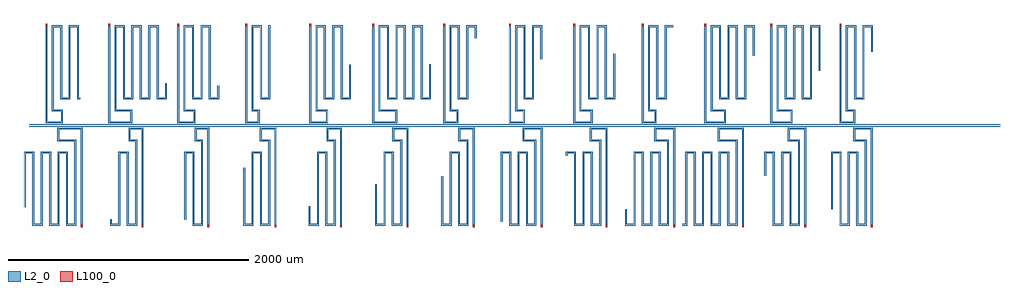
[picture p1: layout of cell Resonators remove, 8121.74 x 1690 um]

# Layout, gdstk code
import gdstk
lib = gdstk.Library(unit=1e-6, precision=1e-09)
def R(c, l, rs):  # rectangles x0, y0, x1, y1
    for r in rs: c.add(gdstk.rectangle(r[:2], r[2:], *l))
def P(c, l, *ps):  # polygons
    for p in ps: c.add(gdstk.Polygon(p, *l))
L2_0 = (2, 0)
L100_0 = (100, 0)

resonators_remove = lib.new_cell('Resonators remove')
R(resonators_remove, L2_0, [(810,2338.5,8890,2344.5), (810,2355.5,8890,2361.5)])
P(resonators_remove, L2_0, [(768.263,1670),(772.263,1670),(772.263,2128.5),(849.263,2128.5),(849.263,1528.5),(912.263,1528.5),(912.263,2128.5),(989.263,2128.5),(989.263,1528.5),(1052.263,1528.5),(1052.263,2128.5),(1129.263,2128.5),(1129.263,1528.5),(1192.263,1528.5),(1192.263,2221.5),(1048.737,2221.5),(1048.737,2328.5),(1251.263,2328.5),(1251.263,1525),(1255.263,1525),(1255.263,2332.5),(1044.737,2332.5),(1044.737,2217.5),(1188.263,2217.5),(1188.263,1532.5),(1133.263,1532.5),(1133.263,2132.5),(1048.263,2132.5),(1048.263,1532.5),(993.263,1532.5),(993.263,2132.5),(908.263,2132.5),(908.263,1532.5),(853.263,1532.5),(853.263,2132.5),(768.263,2132.5)],
  [(779.263,1670),(783.263,1670),(783.263,2117.5),(838.263,2117.5),(838.263,1517.5),(923.263,1517.5),(923.263,2117.5),(978.263,2117.5),(978.263,1517.5),(1063.263,1517.5),(1063.263,2117.5),(1118.263,2117.5),(1118.263,1517.5),(1203.263,1517.5),(1203.263,2232.5),(1059.737,2232.5),(1059.737,2317.5),(1240.263,2317.5),(1240.263,1525),(1244.263,1525),(1244.263,2321.5),(1055.737,2321.5),(1055.737,2228.5),(1199.263,2228.5),(1199.263,1521.5),(1122.263,1521.5),(1122.263,2121.5),(1059.263,2121.5),(1059.263,1521.5),(982.263,1521.5),(982.263,2121.5),(919.263,2121.5),(919.263,1521.5),(842.263,1521.5),(842.263,2121.5),(779.263,2121.5)],
  [(1151.018,3171.5),(1151.018,2571.5),(1074.018,2571.5),(1074.018,3171.5),(1011.018,3171.5),(1011.018,2478.5),(1087.982,2478.5),(1087.982,2371.5),(952.018,2371.5),(952.018,3175),(948.018,3175),(948.018,2367.5),(1091.982,2367.5),(1091.982,2482.5),(1015.018,2482.5),(1015.018,3167.5),(1070.018,3167.5),(1070.018,2567.5),(1155.018,2567.5),(1155.018,3167.5),(1210.018,3167.5),(1210.018,2567.5),(1235.518,2567.5),(1235.518,2571.5),(1214.018,2571.5),(1214.018,3171.5)],
  [(1140.018,3182.5),(1140.018,2582.5),(1085.018,2582.5),(1085.018,3182.5),(1000.018,3182.5),(1000.018,2467.5),(1076.982,2467.5),(1076.982,2382.5),(963.018,2382.5),(963.018,3175),(959.018,3175),(959.018,2378.5),(1080.982,2378.5),(1080.982,2471.5),(1004.018,2471.5),(1004.018,3178.5),(1081.018,3178.5),(1081.018,2578.5),(1144.018,2578.5),(1144.018,3178.5),(1221.018,3178.5),(1221.018,2578.5),(1235.518,2578.5),(1235.518,2582.5),(1225.018,2582.5),(1225.018,3182.5)],
  [(1499.619,1569),(1495.619,1569),(1495.619,1528.5),(1558.619,1528.5),(1558.619,2128.5),(1635.619,2128.5),(1635.619,1528.5),(1698.619,1528.5),(1698.619,2221.5),(1642.381,2221.5),(1642.381,2328.5),(1757.619,2328.5),(1757.619,1525),(1761.619,1525),(1761.619,2332.5),(1638.381,2332.5),(1638.381,2217.5),(1694.619,2217.5),(1694.619,1532.5),(1639.619,1532.5),(1639.619,2132.5),(1554.619,2132.5),(1554.619,1532.5),(1499.619,1532.5)],
  [(1488.619,1569),(1484.619,1569),(1484.619,1517.5),(1569.619,1517.5),(1569.619,2117.5),(1624.619,2117.5),(1624.619,1517.5),(1709.619,1517.5),(1709.619,2232.5),(1653.381,2232.5),(1653.381,2317.5),(1746.619,2317.5),(1746.619,1525),(1750.619,1525),(1750.619,2321.5),(1649.381,2321.5),(1649.381,2228.5),(1705.619,2228.5),(1705.619,1521.5),(1628.619,1521.5),(1628.619,2121.5),(1565.619,2121.5),(1565.619,1521.5),(1488.619,1521.5)],
  [(1957.662,2701),(1953.662,2701),(1953.662,2571.5),(1876.662,2571.5),(1876.662,3171.5),(1813.662,3171.5),(1813.662,2571.5),(1736.662,2571.5),(1736.662,3171.5),(1673.662,3171.5),(1673.662,2571.5),(1596.662,2571.5),(1596.662,3171.5),(1533.662,3171.5),(1533.662,2478.5),(1665.338,2478.5),(1665.338,2371.5),(1474.662,2371.5),(1474.662,3175),(1470.662,3175),(1470.662,2367.5),(1669.338,2367.5),(1669.338,2482.5),(1537.662,2482.5),(1537.662,3167.5),(1592.662,3167.5),(1592.662,2567.5),(1677.662,2567.5),(1677.662,3167.5),(1732.662,3167.5),(1732.662,2567.5),(1817.662,2567.5),(1817.662,3167.5),(1872.662,3167.5),(1872.662,2567.5),(1957.662,2567.5)],
  [(1946.662,2701),(1942.662,2701),(1942.662,2582.5),(1887.662,2582.5),(1887.662,3182.5),(1802.662,3182.5),(1802.662,2582.5),(1747.662,2582.5),(1747.662,3182.5),(1662.662,3182.5),(1662.662,2582.5),(1607.662,2582.5),(1607.662,3182.5),(1522.662,3182.5),(1522.662,2467.5),(1654.338,2467.5),(1654.338,2382.5),(1485.662,2382.5),(1485.662,3175),(1481.662,3175),(1481.662,2378.5),(1658.338,2378.5),(1658.338,2471.5),(1526.662,2471.5),(1526.662,3178.5),(1603.662,3178.5),(1603.662,2578.5),(1666.662,2578.5),(1666.662,3178.5),(1743.662,3178.5),(1743.662,2578.5),(1806.662,2578.5),(1806.662,3178.5),(1883.662,3178.5),(1883.662,2578.5),(1946.662,2578.5)],
  [(2101.867,1564),(2105.867,1564),(2105.867,2128.5),(2182.867,2128.5),(2182.867,1528.5),(2245.867,1528.5),(2245.867,2221.5),(2195.133,2221.5),(2195.133,2328.5),(2304.867,2328.5),(2304.867,1525),(2308.867,1525),(2308.867,2332.5),(2191.133,2332.5),(2191.133,2217.5),(2241.867,2217.5),(2241.867,1532.5),(2186.867,1532.5),(2186.867,2132.5),(2101.867,2132.5)],
  [(2112.867,1564),(2116.867,1564),(2116.867,2117.5),(2171.867,2117.5),(2171.867,1517.5),(2256.867,1517.5),(2256.867,2232.5),(2206.133,2232.5),(2206.133,2317.5),(2293.867,2317.5),(2293.867,1525),(2297.867,1525),(2297.867,2321.5),(2202.133,2321.5),(2202.133,2228.5),(2252.867,2228.5),(2252.867,1521.5),(2175.867,1521.5),(2175.867,2121.5),(2112.867,2121.5)],
  [(2392.152,2682),(2388.152,2682),(2388.152,2571.5),(2311.152,2571.5),(2311.152,3171.5),(2248.152,3171.5),(2248.152,2571.5),(2171.152,2571.5),(2171.152,3171.5),(2108.152,3171.5),(2108.152,2478.5),(2190.848,2478.5),(2190.848,2371.5),(2049.152,2371.5),(2049.152,3175),(2045.152,3175),(2045.152,2367.5),(2194.848,2367.5),(2194.848,2482.5),(2112.152,2482.5),(2112.152,3167.5),(2167.152,3167.5),(2167.152,2567.5),(2252.152,2567.5),(2252.152,3167.5),(2307.152,3167.5),(2307.152,2567.5),(2392.152,2567.5)],
  [(2381.152,2682),(2377.152,2682),(2377.152,2582.5),(2322.152,2582.5),(2322.152,3182.5),(2237.152,3182.5),(2237.152,2582.5),(2182.152,2582.5),(2182.152,3182.5),(2097.152,3182.5),(2097.152,2467.5),(2179.848,2467.5),(2179.848,2382.5),(2060.152,2382.5),(2060.152,3175),(2056.152,3175),(2056.152,2378.5),(2183.848,2378.5),(2183.848,2471.5),(2101.152,2471.5),(2101.152,3178.5),(2178.152,3178.5),(2178.152,2578.5),(2241.152,2578.5),(2241.152,3178.5),(2318.152,3178.5),(2318.152,2578.5),(2381.152,2578.5)],
  [(2607.35,1997),(2603.35,1997),(2603.35,1528.5),(2666.35,1528.5),(2666.35,2128.5),(2743.35,2128.5),(2743.35,1528.5),(2806.35,1528.5),(2806.35,2221.5),(2734.65,2221.5),(2734.65,2328.5),(2865.35,2328.5),(2865.35,1525),(2869.35,1525),(2869.35,2332.5),(2730.65,2332.5),(2730.65,2217.5),(2802.35,2217.5),(2802.35,1532.5),(2747.35,1532.5),(2747.35,2132.5),(2662.35,2132.5),(2662.35,1532.5),(2607.35,1532.5)],
  [(2596.35,1997),(2592.35,1997),(2592.35,1517.5),(2677.35,1517.5),(2677.35,2117.5),(2732.35,2117.5),(2732.35,1517.5),(2817.35,1517.5),(2817.35,2232.5),(2745.65,2232.5),(2745.65,2317.5),(2854.35,2317.5),(2854.35,1525),(2858.35,1525),(2858.35,2321.5),(2741.65,2321.5),(2741.65,2228.5),(2813.35,2228.5),(2813.35,1521.5),(2736.35,1521.5),(2736.35,2121.5),(2673.35,2121.5),(2673.35,1521.5),(2596.35,1521.5)],
  [(2819.747,3167.5),(2819.747,3171.5),(2813.247,3171.5),(2813.247,2571.5),(2736.247,2571.5),(2736.247,3171.5),(2673.247,3171.5),(2673.247,2478.5),(2725.753,2478.5),(2725.753,2371.5),(2614.247,2371.5),(2614.247,3175),(2610.247,3175),(2610.247,2367.5),(2729.753,2367.5),(2729.753,2482.5),(2677.247,2482.5),(2677.247,3167.5),(2732.247,3167.5),(2732.247,2567.5),(2817.247,2567.5),(2817.247,3167.5)],
  [(2819.747,3178.5),(2819.747,3182.5),(2802.247,3182.5),(2802.247,2582.5),(2747.247,2582.5),(2747.247,3182.5),(2662.247,3182.5),(2662.247,2467.5),(2714.753,2467.5),(2714.753,2382.5),(2625.247,2382.5),(2625.247,3175),(2621.247,3175),(2621.247,2378.5),(2718.753,2378.5),(2718.753,2471.5),(2666.247,2471.5),(2666.247,3178.5),(2743.247,3178.5),(2743.247,2578.5),(2806.247,2578.5),(2806.247,3178.5)],
  [(3151.623,1680),(3147.623,1680),(3147.623,1528.5),(3210.623,1528.5),(3210.623,2128.5),(3287.623,2128.5),(3287.623,1528.5),(3350.623,1528.5),(3350.623,2221.5),(3290.377,2221.5),(3290.377,2328.5),(3409.623,2328.5),(3409.623,1525),(3413.623,1525),(3413.623,2332.5),(3286.377,2332.5),(3286.377,2217.5),(3346.623,2217.5),(3346.623,1532.5),(3291.623,1532.5),(3291.623,2132.5),(3206.623,2132.5),(3206.623,1532.5),(3151.623,1532.5)],
  [(3140.623,1680),(3136.623,1680),(3136.623,1517.5),(3221.623,1517.5),(3221.623,2117.5),(3276.623,2117.5),(3276.623,1517.5),(3361.623,1517.5),(3361.623,2232.5),(3301.377,2232.5),(3301.377,2317.5),(3398.623,2317.5),(3398.623,1525),(3402.623,1525),(3402.623,2321.5),(3297.377,2321.5),(3297.377,2228.5),(3357.623,2228.5),(3357.623,1521.5),(3280.623,1521.5),(3280.623,2121.5),(3217.623,2121.5),(3217.623,1521.5),(3140.623,1521.5)],
  [(3489.02,2856),(3485.02,2856),(3485.02,2571.5),(3408.02,2571.5),(3408.02,3171.5),(3345.02,3171.5),(3345.02,2571.5),(3268.02,2571.5),(3268.02,3171.5),(3205.02,3171.5),(3205.02,2478.5),(3293.98,2478.5),(3293.98,2371.5),(3146.02,2371.5),(3146.02,3175),(3142.02,3175),(3142.02,2367.5),(3297.98,2367.5),(3297.98,2482.5),(3209.02,2482.5),(3209.02,3167.5),(3264.02,3167.5),(3264.02,2567.5),(3349.02,2567.5),(3349.02,3167.5),(3404.02,3167.5),(3404.02,2567.5),(3489.02,2567.5)],
  [(3478.02,2856),(3474.02,2856),(3474.02,2582.5),(3419.02,2582.5),(3419.02,3182.5),(3334.02,3182.5),(3334.02,2582.5),(3279.02,2582.5),(3279.02,3182.5),(3194.02,3182.5),(3194.02,2467.5),(3282.98,2467.5),(3282.98,2382.5),(3157.02,2382.5),(3157.02,3175),(3153.02,3175),(3153.02,2378.5),(3286.98,2378.5),(3286.98,2471.5),(3198.02,2471.5),(3198.02,3178.5),(3275.02,3178.5),(3275.02,2578.5),(3338.02,2578.5),(3338.02,3178.5),(3415.02,3178.5),(3415.02,2578.5),(3478.02,2578.5)],
  [(3704.924,1863),(3700.924,1863),(3700.924,1528.5),(3763.924,1528.5),(3763.924,2128.5),(3840.924,2128.5),(3840.924,1528.5),(3903.924,1528.5),(3903.924,2221.5),(3837.076,2221.5),(3837.076,2328.5),(3962.924,2328.5),(3962.924,1525),(3966.924,1525),(3966.924,2332.5),(3833.076,2332.5),(3833.076,2217.5),(3899.924,2217.5),(3899.924,1532.5),(3844.924,1532.5),(3844.924,2132.5),(3759.924,2132.5),(3759.924,1532.5),(3704.924,1532.5)],
  [(3693.924,1863),(3689.924,1863),(3689.924,1517.5),(3774.924,1517.5),(3774.924,2117.5),(3829.924,2117.5),(3829.924,1517.5),(3914.924,1517.5),(3914.924,2232.5),(3848.076,2232.5),(3848.076,2317.5),(3951.924,2317.5),(3951.924,1525),(3955.924,1525),(3955.924,2321.5),(3844.076,2321.5),(3844.076,2228.5),(3910.924,2228.5),(3910.924,1521.5),(3833.924,1521.5),(3833.924,2121.5),(3770.924,2121.5),(3770.924,1521.5),(3693.924,1521.5)],
  [(4154.792,2860),(4150.792,2860),(4150.792,2571.5),(4073.792,2571.5),(4073.792,3171.5),(4010.792,3171.5),(4010.792,2571.5),(3933.792,2571.5),(3933.792,3171.5),(3870.792,3171.5),(3870.792,2571.5),(3793.792,2571.5),(3793.792,3171.5),(3730.792,3171.5),(3730.792,2478.5),(3868.208,2478.5),(3868.208,2371.5),(3671.792,2371.5),(3671.792,3175),(3667.792,3175),(3667.792,2367.5),(3872.208,2367.5),(3872.208,2482.5),(3734.792,2482.5),(3734.792,3167.5),(3789.792,3167.5),(3789.792,2567.5),(3874.792,2567.5),(3874.792,3167.5),(3929.792,3167.5),(3929.792,2567.5),(4014.792,2567.5),(4014.792,3167.5),(4069.792,3167.5),(4069.792,2567.5),(4154.792,2567.5)],
  [(4143.792,2860),(4139.792,2860),(4139.792,2582.5),(4084.792,2582.5),(4084.792,3182.5),(3999.792,3182.5),(3999.792,2582.5),(3944.792,2582.5),(3944.792,3182.5),(3859.792,3182.5),(3859.792,2582.5),(3804.792,2582.5),(3804.792,3182.5),(3719.792,3182.5),(3719.792,2467.5),(3857.208,2467.5),(3857.208,2382.5),(3682.792,2382.5),(3682.792,3175),(3678.792,3175),(3678.792,2378.5),(3861.208,2378.5),(3861.208,2471.5),(3723.792,2471.5),(3723.792,3178.5),(3800.792,3178.5),(3800.792,2578.5),(3863.792,2578.5),(3863.792,3178.5),(3940.792,3178.5),(3940.792,2578.5),(4003.792,2578.5),(4003.792,3178.5),(4080.792,3178.5),(4080.792,2578.5),(4143.792,2578.5)],
  [(4256.113,1929),(4252.113,1929),(4252.113,1528.5),(4315.113,1528.5),(4315.113,2128.5),(4392.113,2128.5),(4392.113,1528.5),(4455.113,1528.5),(4455.113,2221.5),(4385.887,2221.5),(4385.887,2328.5),(4514.113,2328.5),(4514.113,1525),(4518.113,1525),(4518.113,2332.5),(4381.887,2332.5),(4381.887,2217.5),(4451.113,2217.5),(4451.113,1532.5),(4396.113,1532.5),(4396.113,2132.5),(4311.113,2132.5),(4311.113,1532.5),(4256.113,1532.5)],
  [(4245.113,1929),(4241.113,1929),(4241.113,1517.5),(4326.113,1517.5),(4326.113,2117.5),(4381.113,2117.5),(4381.113,1517.5),(4466.113,1517.5),(4466.113,2232.5),(4396.887,2232.5),(4396.887,2317.5),(4503.113,2317.5),(4503.113,1525),(4507.113,1525),(4507.113,2321.5),(4392.887,2321.5),(4392.887,2228.5),(4462.113,2228.5),(4462.113,1521.5),(4385.113,1521.5),(4385.113,2121.5),(4322.113,2121.5),(4322.113,1521.5),(4245.113,1521.5)],
  [(4519.397,3077),(4523.397,3077),(4523.397,3171.5),(4460.397,3171.5),(4460.397,2571.5),(4383.397,2571.5),(4383.397,3171.5),(4320.397,3171.5),(4320.397,2478.5),(4378.603,2478.5),(4378.603,2371.5),(4261.397,2371.5),(4261.397,3175),(4257.397,3175),(4257.397,2367.5),(4382.603,2367.5),(4382.603,2482.5),(4324.397,2482.5),(4324.397,3167.5),(4379.397,3167.5),(4379.397,2567.5),(4464.397,2567.5),(4464.397,3167.5),(4519.397,3167.5)],
  [(4530.397,3077),(4534.397,3077),(4534.397,3182.5),(4449.397,3182.5),(4449.397,2582.5),(4394.397,2582.5),(4394.397,3182.5),(4309.397,3182.5),(4309.397,2467.5),(4367.603,2467.5),(4367.603,2382.5),(4272.397,2382.5),(4272.397,3175),(4268.397,3175),(4268.397,2378.5),(4371.603,2378.5),(4371.603,2471.5),(4313.397,2471.5),(4313.397,3178.5),(4390.397,3178.5),(4390.397,2578.5),(4453.397,2578.5),(4453.397,3178.5),(4530.397,3178.5)],
  [(4736.266,1551),(4740.266,1551),(4740.266,2128.5),(4817.266,2128.5),(4817.266,1528.5),(4880.266,1528.5),(4880.266,2128.5),(4957.266,2128.5),(4957.266,1528.5),(5020.266,1528.5),(5020.266,2221.5),(4920.734,2221.5),(4920.734,2328.5),(5079.266,2328.5),(5079.266,1525),(5083.266,1525),(5083.266,2332.5),(4916.734,2332.5),(4916.734,2217.5),(5016.266,2217.5),(5016.266,1532.5),(4961.266,1532.5),(4961.266,2132.5),(4876.266,2132.5),(4876.266,1532.5),(4821.266,1532.5),(4821.266,2132.5),(4736.266,2132.5)],
  [(4747.266,1551),(4751.266,1551),(4751.266,2117.5),(4806.266,2117.5),(4806.266,1517.5),(4891.266,1517.5),(4891.266,2117.5),(4946.266,2117.5),(4946.266,1517.5),(5031.266,1517.5),(5031.266,2232.5),(4931.734,2232.5),(4931.734,2317.5),(5068.266,2317.5),(5068.266,1525),(5072.266,1525),(5072.266,2321.5),(4927.734,2321.5),(4927.734,2228.5),(5027.266,2228.5),(5027.266,1521.5),(4950.266,1521.5),(4950.266,2121.5),(4887.266,2121.5),(4887.266,1521.5),(4810.266,1521.5),(4810.266,2121.5),(4747.266,2121.5)],
  [(5066.218,2901),(5070.218,2901),(5070.218,3171.5),(5007.218,3171.5),(5007.218,2571.5),(4930.218,2571.5),(4930.218,3171.5),(4867.218,3171.5),(4867.218,2478.5),(4931.782,2478.5),(4931.782,2371.5),(4808.218,2371.5),(4808.218,3175),(4804.218,3175),(4804.218,2367.5),(4935.782,2367.5),(4935.782,2482.5),(4871.218,2482.5),(4871.218,3167.5),(4926.218,3167.5),(4926.218,2567.5),(5011.218,2567.5),(5011.218,3167.5),(5066.218,3167.5)],
  [(5077.218,2901),(5081.218,2901),(5081.218,3182.5),(4996.218,3182.5),(4996.218,2582.5),(4941.218,2582.5),(4941.218,3182.5),(4856.218,3182.5),(4856.218,2467.5),(4920.782,2467.5),(4920.782,2382.5),(4819.218,2382.5),(4819.218,3175),(4815.218,3175),(4815.218,2378.5),(4924.782,2378.5),(4924.782,2471.5),(4860.218,2471.5),(4860.218,3178.5),(4937.218,3178.5),(4937.218,2578.5),(5000.218,2578.5),(5000.218,3178.5),(5077.218,3178.5)],
  [(5276.384,2099),(5280.384,2099),(5280.384,2128.5),(5357.384,2128.5),(5357.384,1528.5),(5420.384,1528.5),(5420.384,2128.5),(5497.384,2128.5),(5497.384,1528.5),(5560.384,1528.5),(5560.384,2221.5),(5480.616,2221.5),(5480.616,2328.5),(5619.384,2328.5),(5619.384,1525),(5623.384,1525),(5623.384,2332.5),(5476.616,2332.5),(5476.616,2217.5),(5556.384,2217.5),(5556.384,1532.5),(5501.384,1532.5),(5501.384,2132.5),(5416.384,2132.5),(5416.384,1532.5),(5361.384,1532.5),(5361.384,2132.5),(5276.384,2132.5)],
  [(5287.384,2099),(5291.384,2099),(5291.384,2117.5),(5346.384,2117.5),(5346.384,1517.5),(5431.384,1517.5),(5431.384,2117.5),(5486.384,2117.5),(5486.384,1517.5),(5571.384,1517.5),(5571.384,2232.5),(5491.616,2232.5),(5491.616,2317.5),(5608.384,2317.5),(5608.384,1525),(5612.384,1525),(5612.384,2321.5),(5487.616,2321.5),(5487.616,2228.5),(5567.384,2228.5),(5567.384,1521.5),(5490.384,1521.5),(5490.384,2121.5),(5427.384,2121.5),(5427.384,1521.5),(5350.384,1521.5),(5350.384,2121.5),(5287.384,2121.5)],
  [(5687.342,2949),(5683.342,2949),(5683.342,2571.5),(5606.342,2571.5),(5606.342,3171.5),(5543.342,3171.5),(5543.342,2571.5),(5466.342,2571.5),(5466.342,3171.5),(5403.342,3171.5),(5403.342,2478.5),(5495.658,2478.5),(5495.658,2371.5),(5344.342,2371.5),(5344.342,3175),(5340.342,3175),(5340.342,2367.5),(5499.658,2367.5),(5499.658,2482.5),(5407.342,2482.5),(5407.342,3167.5),(5462.342,3167.5),(5462.342,2567.5),(5547.342,2567.5),(5547.342,3167.5),(5602.342,3167.5),(5602.342,2567.5),(5687.342,2567.5)],
  [(5676.342,2949),(5672.342,2949),(5672.342,2582.5),(5617.342,2582.5),(5617.342,3182.5),(5532.342,3182.5),(5532.342,2582.5),(5477.342,2582.5),(5477.342,3182.5),(5392.342,3182.5),(5392.342,2467.5),(5484.658,2467.5),(5484.658,2382.5),(5355.342,2382.5),(5355.342,3175),(5351.342,3175),(5351.342,2378.5),(5488.658,2378.5),(5488.658,2471.5),(5396.342,2471.5),(5396.342,3178.5),(5473.342,3178.5),(5473.342,2578.5),(5536.342,2578.5),(5536.342,3178.5),(5613.342,3178.5),(5613.342,2578.5),(5676.342,2578.5)],
  [(5785.254,1651),(5781.254,1651),(5781.254,1528.5),(5844.254,1528.5),(5844.254,2128.5),(5921.254,2128.5),(5921.254,1528.5),(5984.254,1528.5),(5984.254,2128.5),(6061.254,2128.5),(6061.254,1528.5),(6124.254,1528.5),(6124.254,2221.5),(6016.746,2221.5),(6016.746,2328.5),(6183.254,2328.5),(6183.254,1525),(6187.254,1525),(6187.254,2332.5),(6012.746,2332.5),(6012.746,2217.5),(6120.254,2217.5),(6120.254,1532.5),(6065.254,1532.5),(6065.254,2132.5),(5980.254,2132.5),(5980.254,1532.5),(5925.254,1532.5),(5925.254,2132.5),(5840.254,2132.5),(5840.254,1532.5),(5785.254,1532.5)],
  [(5774.254,1651),(5770.254,1651),(5770.254,1517.5),(5855.254,1517.5),(5855.254,2117.5),(5910.254,2117.5),(5910.254,1517.5),(5995.254,1517.5),(5995.254,2117.5),(6050.254,2117.5),(6050.254,1517.5),(6135.254,1517.5),(6135.254,2232.5),(6027.746,2232.5),(6027.746,2317.5),(6172.254,2317.5),(6172.254,1525),(6176.254,1525),(6176.254,2321.5),(6023.746,2321.5),(6023.746,2228.5),(6131.254,2228.5),(6131.254,1521.5),(6054.254,1521.5),(6054.254,2121.5),(5991.254,2121.5),(5991.254,1521.5),(5914.254,1521.5),(5914.254,2121.5),(5851.254,2121.5),(5851.254,1521.5),(5774.254,1521.5)],
  [(6169.831,3167.5),(6169.831,3171.5),(6112.331,3171.5),(6112.331,2571.5),(6035.331,2571.5),(6035.331,3171.5),(5972.331,3171.5),(5972.331,2478.5),(6026.669,2478.5),(6026.669,2371.5),(5913.331,2371.5),(5913.331,3175),(5909.331,3175),(5909.331,2367.5),(6030.669,2367.5),(6030.669,2482.5),(5976.331,2482.5),(5976.331,3167.5),(6031.331,3167.5),(6031.331,2567.5),(6116.331,2567.5),(6116.331,3167.5)],
  [(6169.831,3178.5),(6169.831,3182.5),(6101.331,3182.5),(6101.331,2582.5),(6046.331,2582.5),(6046.331,3182.5),(5961.331,3182.5),(5961.331,2467.5),(6015.669,2467.5),(6015.669,2382.5),(5924.331,2382.5),(5924.331,3175),(5920.331,3175),(5920.331,2378.5),(6019.669,2378.5),(6019.669,2471.5),(5965.331,2471.5),(5965.331,3178.5),(6042.331,3178.5),(6042.331,2578.5),(6105.331,2578.5),(6105.331,3178.5)],
  [(6244.022,1532.5),(6244.022,1528.5),(6275.522,1528.5),(6275.522,2128.5),(6352.522,2128.5),(6352.522,1528.5),(6415.522,1528.5),(6415.522,2128.5),(6492.522,2128.5),(6492.522,1528.5),(6555.522,1528.5),(6555.522,2128.5),(6632.522,2128.5),(6632.522,1528.5),(6695.522,1528.5),(6695.522,2221.5),(6545.478,2221.5),(6545.478,2328.5),(6754.522,2328.5),(6754.522,1525),(6758.522,1525),(6758.522,2332.5),(6541.478,2332.5),(6541.478,2217.5),(6691.522,2217.5),(6691.522,1532.5),(6636.522,1532.5),(6636.522,2132.5),(6551.522,2132.5),(6551.522,1532.5),(6496.522,1532.5),(6496.522,2132.5),(6411.522,2132.5),(6411.522,1532.5),(6356.522,1532.5),(6356.522,2132.5),(6271.522,2132.5),(6271.522,1532.5)],
  [(6244.022,1521.5),(6244.022,1517.5),(6286.522,1517.5),(6286.522,2117.5),(6341.522,2117.5),(6341.522,1517.5),(6426.522,1517.5),(6426.522,2117.5),(6481.522,2117.5),(6481.522,1517.5),(6566.522,1517.5),(6566.522,2117.5),(6621.522,2117.5),(6621.522,1517.5),(6706.522,1517.5),(6706.522,2232.5),(6556.478,2232.5),(6556.478,2317.5),(6743.522,2317.5),(6743.522,1525),(6747.522,1525),(6747.522,2321.5),(6552.478,2321.5),(6552.478,2228.5),(6702.522,2228.5),(6702.522,1521.5),(6625.522,1521.5),(6625.522,2121.5),(6562.522,2121.5),(6562.522,1521.5),(6485.522,1521.5),(6485.522,2121.5),(6422.522,2121.5),(6422.522,1521.5),(6345.522,1521.5),(6345.522,2121.5),(6282.522,2121.5),(6282.522,1521.5)],
  [(6832.591,2930),(6836.591,2930),(6836.591,3171.5),(6773.591,3171.5),(6773.591,2571.5),(6696.591,2571.5),(6696.591,3171.5),(6633.591,3171.5),(6633.591,2571.5),(6556.591,2571.5),(6556.591,3171.5),(6493.591,3171.5),(6493.591,2478.5),(6605.409,2478.5),(6605.409,2371.5),(6434.591,2371.5),(6434.591,3175),(6430.591,3175),(6430.591,2367.5),(6609.409,2367.5),(6609.409,2482.5),(6497.591,2482.5),(6497.591,3167.5),(6552.591,3167.5),(6552.591,2567.5),(6637.591,2567.5),(6637.591,3167.5),(6692.591,3167.5),(6692.591,2567.5),(6777.591,2567.5),(6777.591,3167.5),(6832.591,3167.5)],
  [(6843.591,2930),(6847.591,2930),(6847.591,3182.5),(6762.591,3182.5),(6762.591,2582.5),(6707.591,2582.5),(6707.591,3182.5),(6622.591,3182.5),(6622.591,2582.5),(6567.591,2582.5),(6567.591,3182.5),(6482.591,3182.5),(6482.591,2467.5),(6594.409,2467.5),(6594.409,2382.5),(6445.591,2382.5),(6445.591,3175),(6441.591,3175),(6441.591,2378.5),(6598.409,2378.5),(6598.409,2471.5),(6486.591,2471.5),(6486.591,3178.5),(6563.591,3178.5),(6563.591,2578.5),(6626.591,2578.5),(6626.591,3178.5),(6703.591,3178.5),(6703.591,2578.5),(6766.591,2578.5),(6766.591,3178.5),(6843.591,3178.5)],
  [(6929.378,1933),(6933.378,1933),(6933.378,2128.5),(7010.378,2128.5),(7010.378,1528.5),(7073.378,1528.5),(7073.378,2128.5),(7150.378,2128.5),(7150.378,1528.5),(7213.378,1528.5),(7213.378,2221.5),(7127.622,2221.5),(7127.622,2328.5),(7272.378,2328.5),(7272.378,1525),(7276.378,1525),(7276.378,2332.5),(7123.622,2332.5),(7123.622,2217.5),(7209.378,2217.5),(7209.378,1532.5),(7154.378,1532.5),(7154.378,2132.5),(7069.378,2132.5),(7069.378,1532.5),(7014.378,1532.5),(7014.378,2132.5),(6929.378,2132.5)],
  [(6940.378,1933),(6944.378,1933),(6944.378,2117.5),(6999.378,2117.5),(6999.378,1517.5),(7084.378,1517.5),(7084.378,2117.5),(7139.378,2117.5),(7139.378,1517.5),(7224.378,1517.5),(7224.378,2232.5),(7138.622,2232.5),(7138.622,2317.5),(7261.378,2317.5),(7261.378,1525),(7265.378,1525),(7265.378,2321.5),(7134.622,2321.5),(7134.622,2228.5),(7220.378,2228.5),(7220.378,1521.5),(7143.378,1521.5),(7143.378,2121.5),(7080.378,2121.5),(7080.378,1521.5),(7003.378,1521.5),(7003.378,2121.5),(6940.378,2121.5)],
  [(7380.315,2804),(7384.315,2804),(7384.315,3171.5),(7321.315,3171.5),(7321.315,2571.5),(7244.315,2571.5),(7244.315,3171.5),(7181.315,3171.5),(7181.315,2571.5),(7104.315,2571.5),(7104.315,3171.5),(7041.315,3171.5),(7041.315,2478.5),(7157.685,2478.5),(7157.685,2371.5),(6982.315,2371.5),(6982.315,3175),(6978.315,3175),(6978.315,2367.5),(7161.685,2367.5),(7161.685,2482.5),(7045.315,2482.5),(7045.315,3167.5),(7100.315,3167.5),(7100.315,2567.5),(7185.315,2567.5),(7185.315,3167.5),(7240.315,3167.5),(7240.315,2567.5),(7325.315,2567.5),(7325.315,3167.5),(7380.315,3167.5)],
  [(7391.315,2804),(7395.315,2804),(7395.315,3182.5),(7310.315,3182.5),(7310.315,2582.5),(7255.315,2582.5),(7255.315,3182.5),(7170.315,3182.5),(7170.315,2582.5),(7115.315,2582.5),(7115.315,3182.5),(7030.315,3182.5),(7030.315,2467.5),(7146.685,2467.5),(7146.685,2382.5),(6993.315,2382.5),(6993.315,3175),(6989.315,3175),(6989.315,2378.5),(7150.685,2378.5),(7150.685,2471.5),(7034.315,2471.5),(7034.315,3178.5),(7111.315,3178.5),(7111.315,2578.5),(7174.315,2578.5),(7174.315,3178.5),(7251.315,3178.5),(7251.315,2578.5),(7314.315,2578.5),(7314.315,3178.5),(7391.315,3178.5)],
  [(7484.418,1653),(7488.418,1653),(7488.418,2128.5),(7565.418,2128.5),(7565.418,1528.5),(7628.418,1528.5),(7628.418,2128.5),(7705.418,2128.5),(7705.418,1528.5),(7768.418,1528.5),(7768.418,2221.5),(7672.582,2221.5),(7672.582,2328.5),(7827.418,2328.5),(7827.418,1525),(7831.418,1525),(7831.418,2332.5),(7668.582,2332.5),(7668.582,2217.5),(7764.418,2217.5),(7764.418,1532.5),(7709.418,1532.5),(7709.418,2132.5),(7624.418,2132.5),(7624.418,1532.5),(7569.418,1532.5),(7569.418,2132.5),(7484.418,2132.5)],
  [(7495.418,1653),(7499.418,1653),(7499.418,2117.5),(7554.418,2117.5),(7554.418,1517.5),(7639.418,1517.5),(7639.418,2117.5),(7694.418,2117.5),(7694.418,1517.5),(7779.418,1517.5),(7779.418,2232.5),(7683.582,2232.5),(7683.582,2317.5),(7816.418,2317.5),(7816.418,1525),(7820.418,1525),(7820.418,2321.5),(7679.582,2321.5),(7679.582,2228.5),(7775.418,2228.5),(7775.418,1521.5),(7698.418,1521.5),(7698.418,2121.5),(7635.418,2121.5),(7635.418,1521.5),(7558.418,1521.5),(7558.418,2121.5),(7495.418,2121.5)],
  [(7817.318,2962),(7821.318,2962),(7821.318,3171.5),(7758.318,3171.5),(7758.318,2571.5),(7681.318,2571.5),(7681.318,3171.5),(7618.318,3171.5),(7618.318,2478.5),(7680.682,2478.5),(7680.682,2371.5),(7559.318,2371.5),(7559.318,3175),(7555.318,3175),(7555.318,2367.5),(7684.682,2367.5),(7684.682,2482.5),(7622.318,2482.5),(7622.318,3167.5),(7677.318,3167.5),(7677.318,2567.5),(7762.318,2567.5),(7762.318,3167.5),(7817.318,3167.5)],
  [(7828.318,2962),(7832.318,2962),(7832.318,3182.5),(7747.318,3182.5),(7747.318,2582.5),(7692.318,2582.5),(7692.318,3182.5),(7607.318,3182.5),(7607.318,2467.5),(7669.682,2467.5),(7669.682,2382.5),(7570.318,2382.5),(7570.318,3175),(7566.318,3175),(7566.318,2378.5),(7673.682,2378.5),(7673.682,2471.5),(7611.318,2471.5),(7611.318,3178.5),(7688.318,3178.5),(7688.318,2578.5),(7751.318,2578.5),(7751.318,3178.5),(7828.318,3178.5)])
R(resonators_remove, L100_0, [(1240.263,1505,1255.263,1525), (1746.619,1505,1761.619,1525), (2293.867,1505,2308.867,1525), (2854.35,1505,2869.35,1525), (3398.623,1505,3413.623,1525), (3951.924,1505,3966.924,1525), (4503.113,1505,4518.113,1525), (5068.266,1505,5083.266,1525), (5608.384,1505,5623.384,1525), (6172.254,1505,6187.254,1525), (6743.522,1505,6758.522,1525), (7261.378,1505,7276.378,1525), (7816.418,1505,7831.418,1525), (948.018,3175,963.018,3195), (1470.662,3175,1485.662,3195), (2045.152,3175,2060.152,3195), (2610.247,3175,2625.247,3195), (3142.02,3175,3157.02,3195), (3667.792,3175,3682.792,3195), (4257.397,3175,4272.397,3195), (4804.218,3175,4819.218,3195), (5340.342,3175,5355.342,3195), (5909.331,3175,5924.331,3195), (6430.591,3175,6445.591,3195), (6978.315,3175,6993.315,3195), (7555.318,3175,7570.318,3195)])

lib.write_gds('Resonators_remove.gds')
